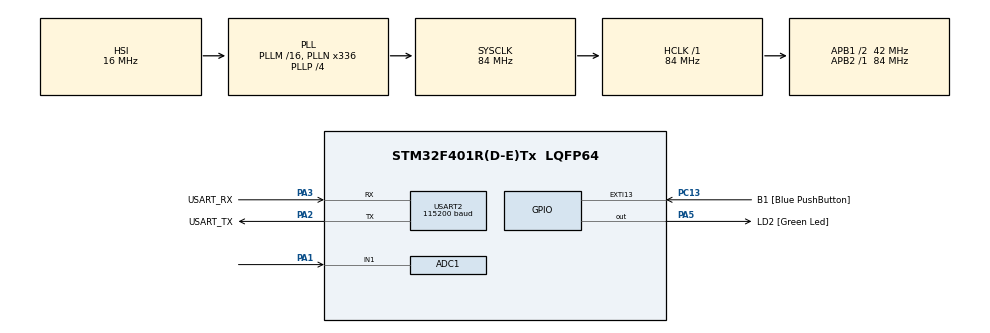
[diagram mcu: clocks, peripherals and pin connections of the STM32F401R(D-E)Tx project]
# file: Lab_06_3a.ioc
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ADC1.Channel-0\#ChannelRegularConversion=ADC_CHANNEL_1
ADC1.Channel-1\#ChannelRegularConversion=ADC_CHANNEL_TEMPSENSOR
ADC1.Channel-2\#ChannelRegularConversion=ADC_CHANNEL_VREFINT
ADC1.DMAContinuousRequests=ENABLE
ADC1.ExternalTrigConv=ADC_EXTERNALTRIGCONV_T3_TRGO
ADC1.NbrOfConversion=3
ADC1.NbrOfConversionFlag=1
ADC1.Rank-0\#ChannelRegularConversion=1
ADC1.Rank-1\#ChannelRegularConversion=2
ADC1.Rank-2\#ChannelRegularConversion=3
ADC1.SamplingTime-0\#ChannelRegularConversion=ADC_SAMPLETIME_480CYCLES
ADC1.SamplingTime-1\#ChannelRegularConversion=ADC_SAMPLETIME_480CYCLES
ADC1.SamplingTime-2\#ChannelRegularConversion=ADC_SAMPLETIME_480CYCLES
ADC1.ScanConvMode=ENABLE
ADC1.master=1
Dma.ADC1.0.Direction=DMA_PERIPH_TO_MEMORY
Dma.ADC1.0.FIFOMode=DMA_FIFOMODE_DISABLE
Dma.ADC1.0.Instance=DMA2_Stream0
Dma.ADC1.0.MemDataAlignment=DMA_MDATAALIGN_HALFWORD
Dma.ADC1.0.MemInc=DMA_MINC_ENABLE
Dma.ADC1.0.Mode=DMA_CIRCULAR
Dma.ADC1.0.PeriphDataAlignment=DMA_PDATAALIGN_HALFWORD
Dma.ADC1.0.PeriphInc=DMA_PINC_DISABLE
Dma.ADC1.0.Priority=DMA_PRIORITY_LOW
Dma.Request0=ADC1
Dma.Request1=USART2_TX
Dma.USART2_TX.1.Direction=DMA_MEMORY_TO_PERIPH
Dma.USART2_TX.1.FIFOMode=DMA_FIFOMODE_DISABLE
Dma.USART2_TX.1.Instance=DMA1_Stream6
Dma.USART2_TX.1.MemDataAlignment=DMA_MDATAALIGN_BYTE
Dma.USART2_TX.1.MemInc=DMA_MINC_ENABLE
Dma.USART2_TX.1.Mode=DMA_NORMAL
Dma.USART2_TX.1.PeriphDataAlignment=DMA_PDATAALIGN_BYTE
Dma.USART2_TX.1.PeriphInc=DMA_PINC_DISABLE
Dma.USART2_TX.1.Priority=DMA_PRIORITY_LOW
Mcu.Family=STM32F4
Mcu.Name=STM32F401R(D-E)Tx
Mcu.Package=LQFP64
NVIC.ADC_IRQn=true\:0\:0\:false\:false\:true\:true\:true\:true
NVIC.DMA1_Stream6_IRQn=true\:0\:0\:false\:false\:true\:false\:true\:true
NVIC.DMA2_Stream0_IRQn=true\:0\:0\:false\:false\:true\:false\:true\:true
NVIC.PriorityGroup=NVIC_PRIORITYGROUP_0
NVIC.USART2_IRQn=true\:0\:0\:false\:false\:true\:true\:true\:true
PA1.Signal=SharedAnalog_PA1
PA13.GPIO_Label=TMS
PA13.Mode=Serial_Wire
PA13.Signal=SYS_JTMS-SWDIO
PA14.GPIO_Label=TCK
PA14.Mode=Serial_Wire
PA14.Signal=SYS_JTCK-SWCLK
PA2.GPIO_Label=USART_TX
PA2.GPIO_Mode=GPIO_MODE_AF_PP
PA2.GPIO_PuPd=GPIO_NOPULL
PA2.GPIO_Speed=GPIO_SPEED_FREQ_LOW
PA2.Mode=Asynchronous
PA2.Signal=USART2_TX
PA3.GPIO_Label=USART_RX
PA3.GPIO_Mode=GPIO_MODE_AF_PP
PA3.GPIO_PuPd=GPIO_NOPULL
PA3.GPIO_Speed=GPIO_SPEED_FREQ_LOW
PA3.Mode=Asynchronous
PA3.Signal=USART2_RX
PA5.GPIO_Label=LD2 [Green Led]
PA5.GPIO_Mode=GPIO_MODE_OUTPUT_PP
PA5.GPIO_PuPd=GPIO_NOPULL
PA5.GPIO_Speed=GPIO_SPEED_FREQ_LOW
PA5.Signal=GPIO_Output
PB3.GPIO_Label=SWO
PB3.Signal=SYS_JTDO-SWO
PC13-ANTI_TAMP.GPIO_Label=B1 [Blue PushButton]
PC13-ANTI_TAMP.GPIO_ModeDefaultEXTI=GPIO_MODE_IT_FALLING
PC13-ANTI_TAMP.GPIO_PuPd=GPIO_NOPULL
PC13-ANTI_TAMP.Signal=GPXTI13
PC14-OSC32_IN.Mode=LSE-External-Oscillator
PC14-OSC32_IN.Signal=RCC_OSC32_IN
PC15-OSC32_OUT.Mode=LSE-External-Oscillator
PC15-OSC32_OUT.Signal=RCC_OSC32_OUT
PH0\ -\ OSC_IN.Mode=HSE-External-Clock-Source
PH0\ -\ OSC_IN.Signal=RCC_OSC_IN
PH1\ -\ OSC_OUT.Mode=HSE-External-Clock-Source
PH1\ -\ OSC_OUT.Signal=RCC_OSC_OUT
ProjectManager.HeapSize=0x200
ProjectManager.StackSize=0x400
ProjectManager.TargetToolchain=STM32CubeIDE
RCC.48MHZClocksFreq_Value=48000000
RCC.AHBFreq_Value=84000000
RCC.APB1CLKDivider=RCC_HCLK_DIV2
RCC.APB1Freq_Value=42000000
RCC.APB1TimFreq_Value=84000000
RCC.APB2Freq_Value=84000000
RCC.APB2TimFreq_Value=84000000
RCC.CortexFreq_Value=84000000
RCC.HCLKFreq_Value=84000000
RCC.HSE_VALUE=8000000
RCC.HSI_VALUE=16000000
RCC.PLLN=336
RCC.PLLP=RCC_PLLP_DIV4
RCC.PLLQ=7
RCC.SYSCLKFreq_VALUE=84000000
RCC.SYSCLKSource=RCC_SYSCLKSOURCE_PLLCLK
RCC.VCOOutputFreq_Value=336000000
SH.SharedAnalog_PA1.0=GPIO_Analog
SH.SharedAnalog_PA1.1=ADC1_IN1,IN1
TIM3.Period=10000-1
TIM3.Prescaler=8400-1
TIM3.TIM_MasterOutputTrigger=TIM_TRGO_UPDATE
USART2.BaudRate=115200
USART2.VirtualMode=VM_ASYNC
VP_ADC1_TempSens_Input.Mode=IN-TempSens
VP_ADC1_Vref_Input.Mode=IN-Vrefint
VP_TIM3_VS_ClockSourceINT.Mode=Internal
board=NUCLEO-F401RE

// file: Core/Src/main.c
/* USER CODE BEGIN Header */
/**
  ******************************************************************************
  * @file           : main.c
  * @brief          : Main program body
  ******************************************************************************
  * @attention
  *
  * Copyright (c) 2024 STMicroelectronics.
  * All rights reserved.
  *
  * This software is licensed under terms that can be found in the LICENSE file
  * in the root directory of this software component.
  * If no LICENSE file comes with this software, it is provided AS-IS.
  *
  ******************************************************************************
  */
/* USER CODE END Header */
#include "main.h"

/* USER CODE BEGIN Includes */
#include <stdio.h>
/* USER CODE END Includes */

/* USER CODE BEGIN PD */

#define ACQUISITIONS 3
#define VDDA 3.3			//analog voltage supply + (float)
#define VSSA 0.0			//analog GND (float)
#define RESOLUTION_BITS 12	//resolution of the ADC [bits]
#define V25 0.76			//temperature sensor voltage at 25°C [V]
#define AVG_SLOPE 0.0025	//temperature sensor average slope [V/°C]

/* USER CODE END PD */

ADC_HandleTypeDef hadc1;
DMA_HandleTypeDef hdma_adc1;

TIM_HandleTypeDef htim3;

UART_HandleTypeDef huart2;
DMA_HandleTypeDef hdma_usart2_tx;

void SystemClock_Config(void);
static void MX_GPIO_Init(void);
static void MX_DMA_Init(void);
static void MX_USART2_UART_Init(void);
static void MX_ADC1_Init(void);
static void MX_TIM3_Init(void);

/* USER CODE BEGIN 0 */
float FSR;							//ADC full scale range
float RESOLUTION_STEPS;				//resolution steps of the ADC
uint16_t voltages[ACQUISITIONS];	//16 bits result (half words)

void HAL_ADC_ConvCpltCallback(ADC_HandleTypeDef *hadc1){

	float vpot = voltages[0]*FSR/RESOLUTION_STEPS;
	float vtemp = ((voltages[1]*FSR/RESOLUTION_STEPS)-V25)/AVG_SLOPE+25;
	float vrefint = voltages[2]*FSR/RESOLUTION_STEPS;

	static char string[100];

	int len = snprintf(string, sizeof(string), "Potentiometer: %.3f V, Temperature: %.3f degrees, Vref: %.3f V\r\n", vpot, vtemp, vrefint);

	if(HAL_UART_GetState(&huart2) == HAL_UART_STATE_READY){
		HAL_UART_Transmit_DMA(&huart2, string, len);
		}
}

/* USER CODE END 0 */

int main(void)
{

  /* MCU Configuration--------------------------------------------------------*/

  /* Reset of all peripherals, Initializes the Flash interface and the Systick. */
  HAL_Init();

  /* Configure the system clock */
  SystemClock_Config();

  /* Initialize all configured peripherals */
  MX_GPIO_Init();
  MX_DMA_Init();
  MX_USART2_UART_Init();
  MX_ADC1_Init();
  MX_TIM3_Init();
  /* USER CODE BEGIN 2 */
  FSR = VDDA-VSSA;							//ADC full scale range calculator
  RESOLUTION_STEPS = (1)<<RESOLUTION_BITS;	//ADC resolution steps calculator

  HAL_TIM_Base_Start(&htim3);
  HAL_ADC_Start_DMA(&hadc1, &voltages[0], ACQUISITIONS);

  /* USER CODE END 2 */

  /* Infinite loop */
  while (1)
  {

  }
}

void SystemClock_Config(void)
{
  RCC_OscInitTypeDef RCC_OscInitStruct = {0};
  RCC_ClkInitTypeDef RCC_ClkInitStruct = {0};

  /** Configure the main internal regulator output voltage
  */
  __HAL_RCC_PWR_CLK_ENABLE();
  __HAL_PWR_VOLTAGESCALING_CONFIG(PWR_REGULATOR_VOLTAGE_SCALE2);

  /** Initializes the RCC Oscillators according to the specified parameters
  * in the RCC_OscInitTypeDef structure.
  */
  RCC_OscInitStruct.OscillatorType = RCC_OSCILLATORTYPE_HSI;
  RCC_OscInitStruct.HSIState = RCC_HSI_ON;
  RCC_OscInitStruct.HSICalibrationValue = RCC_HSICALIBRATION_DEFAULT;
  RCC_OscInitStruct.PLL.PLLState = RCC_PLL_ON;
  RCC_OscInitStruct.PLL.PLLSource = RCC_PLLSOURCE_HSI;
  RCC_OscInitStruct.PLL.PLLM = 16;
  RCC_OscInitStruct.PLL.PLLN = 336;
  RCC_OscInitStruct.PLL.PLLP = RCC_PLLP_DIV4;
  RCC_OscInitStruct.PLL.PLLQ = 7;
  if (HAL_RCC_OscConfig(&RCC_OscInitStruct) != HAL_OK)
  {
    Error_Handler();
  }

  /** Initializes the CPU, AHB and APB buses clocks
  */
  RCC_ClkInitStruct.ClockType = RCC_CLOCKTYPE_HCLK|RCC_CLOCKTYPE_SYSCLK
                              |RCC_CLOCKTYPE_PCLK1|RCC_CLOCKTYPE_PCLK2;
  RCC_ClkInitStruct.SYSCLKSource = RCC_SYSCLKSOURCE_PLLCLK;
  RCC_ClkInitStruct.AHBCLKDivider = RCC_SYSCLK_DIV1;
  RCC_ClkInitStruct.APB1CLKDivider = RCC_HCLK_DIV2;
  RCC_ClkInitStruct.APB2CLKDivider = RCC_HCLK_DIV1;

  if (HAL_RCC_ClockConfig(&RCC_ClkInitStruct, FLASH_LATENCY_2) != HAL_OK)
  {
    Error_Handler();
  }
}

static void MX_ADC1_Init(void)
{

  ADC_ChannelConfTypeDef sConfig = {0};

  /** Configure the global features of the ADC (Clock, Resolution, Data Alignment and number of conversion)
  */
  hadc1.Instance = ADC1;
  hadc1.Init.ClockPrescaler = ADC_CLOCK_SYNC_PCLK_DIV4;
  hadc1.Init.Resolution = ADC_RESOLUTION_12B;
  hadc1.Init.ScanConvMode = ENABLE;
  hadc1.Init.ContinuousConvMode = DISABLE;
  hadc1.Init.DiscontinuousConvMode = DISABLE;
  hadc1.Init.ExternalTrigConvEdge = ADC_EXTERNALTRIGCONVEDGE_RISING;
  hadc1.Init.ExternalTrigConv = ADC_EXTERNALTRIGCONV_T3_TRGO;
  hadc1.Init.DataAlign = ADC_DATAALIGN_RIGHT;
  hadc1.Init.NbrOfConversion = 3;
  hadc1.Init.DMAContinuousRequests = ENABLE;
  hadc1.Init.EOCSelection = ADC_EOC_SINGLE_CONV;
  if (HAL_ADC_Init(&hadc1) != HAL_OK)
  {
    Error_Handler();
  }

  /** Configure for the selected ADC regular channel its corresponding rank in the sequencer and its sample time.
  */
  sConfig.Channel = ADC_CHANNEL_1;
  sConfig.Rank = 1;
  sConfig.SamplingTime = ADC_SAMPLETIME_480CYCLES;
  if (HAL_ADC_ConfigChannel(&hadc1, &sConfig) != HAL_OK)
  {
    Error_Handler();
  }

  /** Configure for the selected ADC regular channel its corresponding rank in the sequencer and its sample time.
  */
  sConfig.Channel = ADC_CHANNEL_TEMPSENSOR;
  sConfig.Rank = 2;
  if (HAL_ADC_ConfigChannel(&hadc1, &sConfig) != HAL_OK)
  {
    Error_Handler();
  }

  /** Configure for the selected ADC regular channel its corresponding rank in the sequencer and its sample time.
  */
  sConfig.Channel = ADC_CHANNEL_VREFINT;
  sConfig.Rank = 3;
  if (HAL_ADC_ConfigChannel(&hadc1, &sConfig) != HAL_OK)
  {
    Error_Handler();
  }

}

static void MX_TIM3_Init(void)
{

  TIM_ClockConfigTypeDef sClockSourceConfig = {0};
  TIM_MasterConfigTypeDef sMasterConfig = {0};

  htim3.Instance = TIM3;
  htim3.Init.Prescaler = 8400-1;
  htim3.Init.CounterMode = TIM_COUNTERMODE_UP;
  htim3.Init.Period = 10000-1;
  htim3.Init.ClockDivision = TIM_CLOCKDIVISION_DIV1;
  htim3.Init.AutoReloadPreload = TIM_AUTORELOAD_PRELOAD_DISABLE;
  if (HAL_TIM_Base_Init(&htim3) != HAL_OK)
  {
    Error_Handler();
  }
  sClockSourceConfig.ClockSource = TIM_CLOCKSOURCE_INTERNAL;
  if (HAL_TIM_ConfigClockSource(&htim3, &sClockSourceConfig) != HAL_OK)
  {
    Error_Handler();
  }
  sMasterConfig.MasterOutputTrigger = TIM_TRGO_UPDATE;
  sMasterConfig.MasterSlaveMode = TIM_MASTERSLAVEMODE_DISABLE;
  if (HAL_TIMEx_MasterConfigSynchronization(&htim3, &sMasterConfig) != HAL_OK)
  {
    Error_Handler();
  }

}

static void MX_USART2_UART_Init(void)
{

  huart2.Instance = USART2;
  huart2.Init.BaudRate = 115200;
  huart2.Init.WordLength = UART_WORDLENGTH_8B;
  huart2.Init.StopBits = UART_STOPBITS_1;
  huart2.Init.Parity = UART_PARITY_NONE;
  huart2.Init.Mode = UART_MODE_TX_RX;
  huart2.Init.HwFlowCtl = UART_HWCONTROL_NONE;
  huart2.Init.OverSampling = UART_OVERSAMPLING_16;
  if (HAL_UART_Init(&huart2) != HAL_OK)
  {
    Error_Handler();
  }

}

static void MX_DMA_Init(void)
{

  /* DMA controller clock enable */
  __HAL_RCC_DMA2_CLK_ENABLE();
  __HAL_RCC_DMA1_CLK_ENABLE();

  /* DMA interrupt init */
  /* DMA1_Stream6_IRQn interrupt configuration */
  HAL_NVIC_SetPriority(DMA1_Stream6_IRQn, 0, 0);
  HAL_NVIC_EnableIRQ(DMA1_Stream6_IRQn);
  /* DMA2_Stream0_IRQn interrupt configuration */
  HAL_NVIC_SetPriority(DMA2_Stream0_IRQn, 0, 0);
  HAL_NVIC_EnableIRQ(DMA2_Stream0_IRQn);

}

static void MX_GPIO_Init(void)
{
  GPIO_InitTypeDef GPIO_InitStruct = {0};

  /* GPIO Ports Clock Enable */
  __HAL_RCC_GPIOC_CLK_ENABLE();
  __HAL_RCC_GPIOH_CLK_ENABLE();
  __HAL_RCC_GPIOA_CLK_ENABLE();
  __HAL_RCC_GPIOB_CLK_ENABLE();

  /*Configure GPIO pin Output Level */
  HAL_GPIO_WritePin(LD2_GPIO_Port, LD2_Pin, GPIO_PIN_RESET);

  /*Configure GPIO pin : B1_Pin */
  GPIO_InitStruct.Pin = B1_Pin;
  GPIO_InitStruct.Mode = GPIO_MODE_IT_FALLING;
  GPIO_InitStruct.Pull = GPIO_NOPULL;
  HAL_GPIO_Init(B1_GPIO_Port, &GPIO_InitStruct);

  /*Configure GPIO pin : LD2_Pin */
  GPIO_InitStruct.Pin = LD2_Pin;
  GPIO_InitStruct.Mode = GPIO_MODE_OUTPUT_PP;
  GPIO_InitStruct.Pull = GPIO_NOPULL;
  GPIO_InitStruct.Speed = GPIO_SPEED_FREQ_LOW;
  HAL_GPIO_Init(LD2_GPIO_Port, &GPIO_InitStruct);

}

void Error_Handler(void)
{
  __disable_irq();
  while (1)
  {
  }
}
